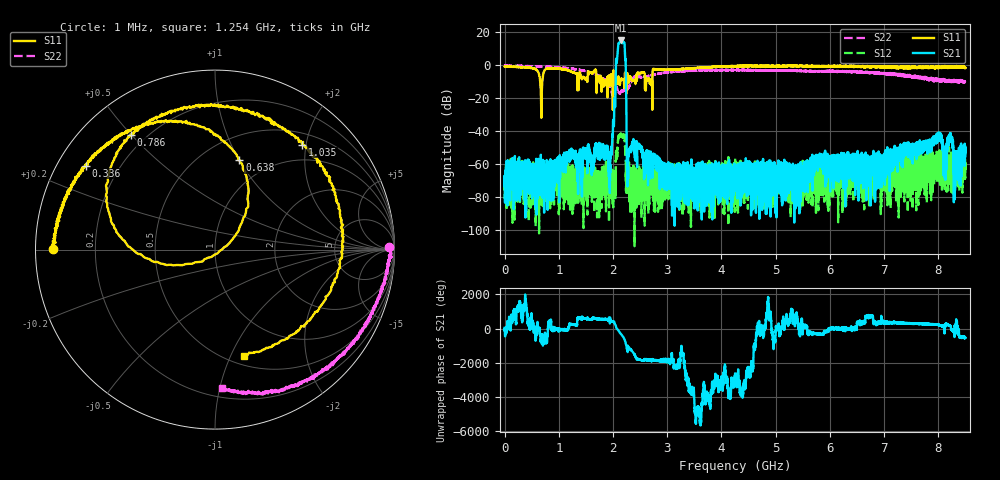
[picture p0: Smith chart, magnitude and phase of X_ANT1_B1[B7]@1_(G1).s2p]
#  HZ  S  RI  R  50.00
! Rohde & Schwarz Vector Network Analyzer
! Rohde-Schwarz,ZNBT8-20Port,1318700624101681,3.50
! Created: UTC 7/15/2025, 2:12:04 PM
! freq[Hz]  re:S1010  im:S1010  re:S0610  im:S0610  re:S1006  im:S1006  re:S66  im:S66
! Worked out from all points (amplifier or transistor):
!   8500 points, 1 MHz to 8.5 GHz, reference 50 ohm
!   highest |S21| = 14.9 dB at 2.144 GHz (marker M1)
!   |S21| within 3 dB of that: 2.095 GHz to 2.215 GHz (120 MHz wide, 5.57 % of centre)
!   unconditionally stable (mu >= 1): start of sweep to end of sweep
!   at 1.417 GHz: K = 248887.65, MAG = -53.1 dB, |S12| = -64.5 dB
!   at 4.251 GHz: K = 330808.04, MAG = -55.8 dB, |S12| = -71.9 dB
!   at 8.5 GHz: K = 68336.56, MAG = -44.3 dB, |S12| = -63.8 dB
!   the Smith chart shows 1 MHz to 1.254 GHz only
!   S11 on the Smith chart (normalised r, x): 1 MHz: 0.05, +0.00; 336 MHz: 0.08, +0.29; 638 MHz: 0.74, +1.00; 786 MHz: 0.14, +0.50; 1.035 GHz: 0.70, +1.93; 1.254 GHz: 0.59, -1.12
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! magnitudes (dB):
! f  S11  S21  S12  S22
! 1 MHz  -0.9  -72.4  -74.1  -0.3
! 336 MHz  -1.3  -65.3  -62.5  -0.5
! 638 MHz  -5.7  -67.0  -65.9  -0.8
! 786 MHz  -2.0  -70.1  -67.6  -1.1
! 1.035 GHz  -2.4  -59.9  -66.6  -1.5
! 1.254 GHz  -4.3  -53.8  -69.0  -2.2
! 1.418 GHz  -8.3  -62.7  -67.9  -3.1
! 1.948 GHz  -10.3  -61.0  -70.9  -13.2
! 2.01 GHz  -3.3  -34.7  -71.6  -18.5
! 2.089 GHz  -8.9  9.5  -46.8  -16.1
! 2.144 GHz  -8.8  14.9  -41.5  -16.1
! 2.205 GHz  -11.8  13.6  -42.4  -14.7
! 2.292 GHz  -10.5  -51.5  -72.1  -13.3
! 2.834 GHz  -2.8  -61.1  -63.7  -5.3
! 4.251 GHz  -0.7  -67.1  -71.9  -3.1
! 5.667 GHz  -0.4  -63.6  -71.8  -3.7
! 7.084 GHz  -1.0  -61.1  -70.6  -5.5
! 8.009 GHz  -1.2  -41.4  -56.1  -8.7
! 8.12 GHz  -1.3  -57.2  -60.1  -9.8
! 8.231 GHz  -0.8  -44.6  -60.9  -9.8
! 8.327 GHz  -1.0  -64.5  -54.6  -9.5
! 8.5 GHz  -1.7  -49.7  -63.8  -10.0
